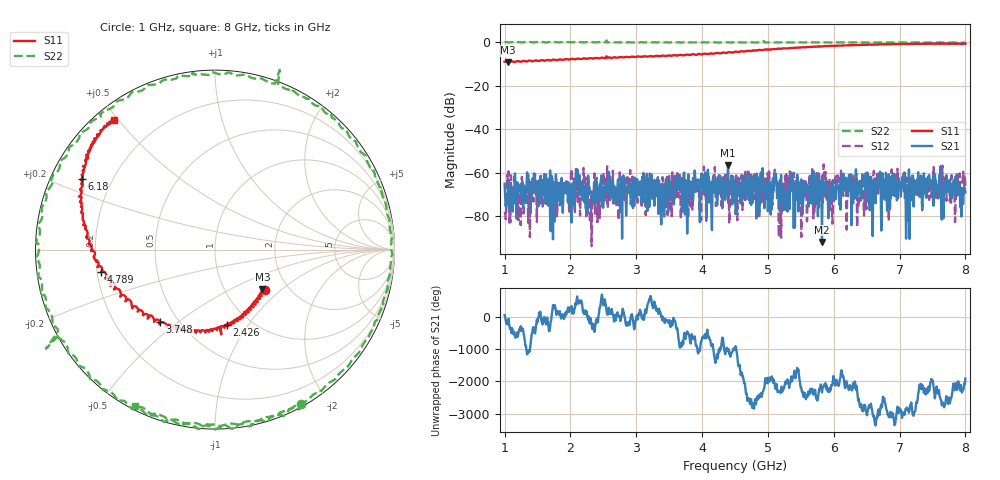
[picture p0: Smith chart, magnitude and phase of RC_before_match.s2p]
!Keysight Technologies N9917A: A.08.15
!Date: Friday, 06 October 2017 10:20:31
!Timezone: (GMT-08:00) Pacific Time (US & Canada)
!Model: N9917A
!Serial: MY53102735
!GPS Latitude:
!GPS Longitude:
!GPS TimeStamp: 0001-01-01 00:00:00Z
!GPS Seconds Since Last Read: 0
!CHECKSUM:0195806474
!Correction: S11(ON U*)S21(ON U*)S12(ON U*)S22(ON U*)
!S2P File: Measurements:S11,S21,S12,S22:
# Hz S RI R 50
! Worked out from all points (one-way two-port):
!   801 points, 1 GHz to 8 GHz, reference 50 ohm
!   highest |S21| = -56.35 dB at 4.395 GHz (marker M1); lowest = -91.8 dB at 5.821 GHz (marker M2)
!   lowest |S11| = -9.2 dB at 1.052 GHz (marker M3), VSWR 2.05, Z = 74.6 - j37.5 ohm
!   |S11| at or under -10 dB: nowhere
!   |S22| runs from -0.3 to 0.8 dB; largest |S21 - S12| = 0.0021
!   S11 on the Smith chart (normalised r, x): 1 GHz: 1.52, -0.78; 2.426 GHz: 0.78, -0.80; 3.748 GHz: 0.40, -0.43; 4.789 GHz: 0.22, -0.09; 6.18 GHz: 0.09, +0.25; 8 GHz: 0.05, +0.49
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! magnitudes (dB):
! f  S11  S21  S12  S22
! 1 GHz  -9.0  -65.0  -77.9  -0.1
! 1.052 GHz  -9.2  -63.3  -66.5  -0.1
! 1.534 GHz  -8.5  -64.1  -65.2  -0.2
! 1.7 GHz  -8.4  -86.8  -67.2  -0.1
! 2.172 GHz  -7.7  -64.1  -65.2  -0.1
! 2.426 GHz  -7.5  -72.8  -76.5  0.0
! 2.522 GHz  -7.4  -72.6  -72.5  0.0
! 3.336 GHz  -6.4  -78.9  -69.4  -0.1
! 3.748 GHz  -5.9  -71.6  -63.4  -0.1
! 3.896 GHz  -5.8  -62.2  -68.7  -0.1
! 4.395 GHz  -4.7  -56.4  -73.7  -0.1
! 4.5 GHz  -4.4  -63.8  -66.1  -0.2
! 4.789 GHz  -3.8  -65.8  -72.1  -0.2
! 5.025 GHz  -3.4  -63.9  -65.9  -0.1
! 5.104 GHz  -3.2  -60.9  -58.6  -0.1
! 5.2 GHz  -3.1  -60.9  -89.9  -0.1
! 5.261 GHz  -2.8  -74.2  -61.4  -0.2
! 5.673 GHz  -2.2  -61.0  -58.3  -0.1
! 5.821 GHz  -2.0  -91.8  -61.4  -0.2
! 6.18 GHz  -1.5  -67.7  -68.0  -0.2
! 6.836 GHz  -1.0  -60.7  -82.2  -0.2
! 8 GHz  -0.8  -68.8  -66.1  -0.2
